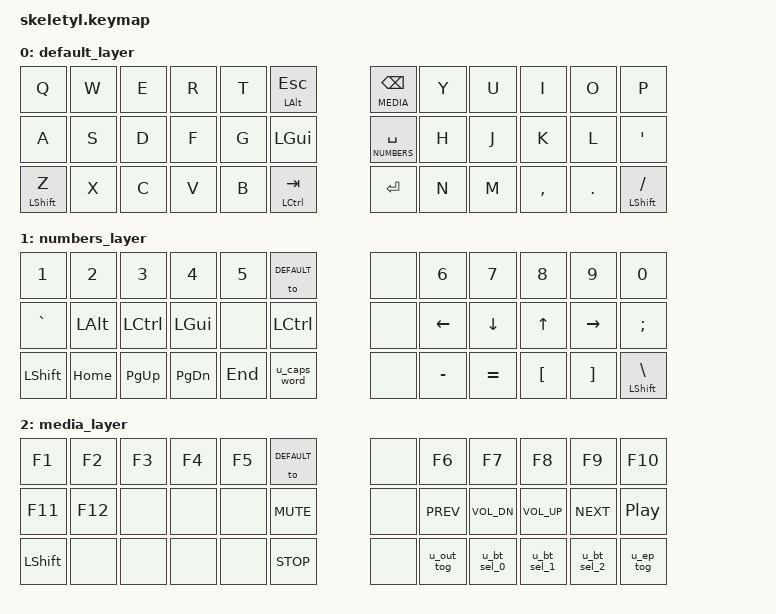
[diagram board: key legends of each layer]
#include <behaviors.dtsi>
#include <dt-bindings/zmk/bt.h>
#include <dt-bindings/zmk/keys.h>
#include <dt-bindings/zmk/outputs.h>
#include <dt-bindings/zmk/ext_power.h>

#define U_STRINGIFY(x) #x
#define U_MACRO(name,...) \
/ { \
  macros { \
    name: name { \
      label = U_STRINGIFY(ZM_ ## name); \
      compatible = "zmk,behavior-macro"; \
      #binding-cells = <0>; \
      __VA_ARGS__ \
    }; \
  }; \
};
#define MIRYOKU_SHIFT_FUNCTION(NAME, BINDING, SHIFT_BINDING) \
/ { \
  behaviors { \
    NAME: NAME { \
      compatible = "zmk,behavior-mod-morph"; \
      label = U_STRINGIFY(NAME); \
      #binding-cells = <0>; \
      bindings = <BINDING>, <SHIFT_BINDING>; \
      mods = <(MOD_LSFT|MOD_RSFT)>; \
    }; \
  }; \
};

#define MIRYOKU_SHIFT_MACRO(NAME, BINDING, SHIFT_BINDING) \
U_MACRO(u_macro_ ## NAME, wait-ms = <0>; bindings = <SHIFT_BINDING>;) \
MIRYOKU_SHIFT_FUNCTION(NAME, BINDING, &u_macro_ ## NAME)

// ======================================
// Bluetooth profile definition
// ======================================
MIRYOKU_SHIFT_MACRO(u_bt_sel_0, &bt BT_SEL 0, &bt BT_SEL 0 &bt BT_CLR)
MIRYOKU_SHIFT_MACRO(u_bt_sel_1, &bt BT_SEL 1, &bt BT_SEL 1 &bt BT_CLR)
MIRYOKU_SHIFT_MACRO(u_bt_sel_2, &bt BT_SEL 2, &bt BT_SEL 2 &bt BT_CLR)
MIRYOKU_SHIFT_MACRO(u_bt_sel_3, &bt BT_SEL 3, &bt BT_SEL 3 &bt BT_CLR)
MIRYOKU_SHIFT_MACRO(u_bt_sel_4, &bt BT_SEL 4, &bt BT_SEL 4 &bt BT_CLR)

// Toggle output
MIRYOKU_SHIFT_FUNCTION(u_out_tog, &out OUT_TOG, &out OUT_USB)
MIRYOKU_SHIFT_FUNCTION(u_ep_tog, &ext_power EP_TOG, &ext_power EP_OFF)
// ======================================
// END Bluetooth profile definition
// ======================================

// Caps word or caps lock with a shift
MIRYOKU_SHIFT_FUNCTION(u_caps_word, &caps_word, &kp CAPS)


/ {
    combos {
        compatible = "zmk,combos";
        combo_tab {
            timeout-ms = <50>;
            key-positions = <0 17>;
            bindings = <&kp LSHFT>, <&kp TAB>;
        };
    };
};

#define DEFAULT 0
#define NUMBERS 1
#define MEDIA 2

/ {
    keymap {
        compatible = "zmk,keymap";

        default_layer {
// --------------------------------------------------------------------------------------------------------------------------------------------------------------------
// |    Q    |    W    |    E    |    R    |    T    |                       |    Y    |    U    |    I    |    O    |    P    |
// |    A    |    S    |    D    |    F    |    G    |                       |    H    |    J    |    K    |    L    |    "    |
// | SFT(Z)  |    X    |    C    |    V    |    B    |                       |    N    |    M    |    ,    |    .    | SHFT(/) |
//                     | ALT(ESC)|   CMD   |CTRL(TAB)|                       |  ENTER  |L1(SPACE)| L2(BSP) |
            bindings = <
     &kp Q       &kp W    &kp E     &kp R     &kp T      &mt LALT ESC            &lt MEDIA BSPC    &kp Y     &kp U     &kp I     &kp O     &kp P
     &kp A       &kp S    &kp D     &kp F     &kp G      &kp LGUI                &lt NUMBERS SPACE &kp H     &kp J     &kp K     &kp L     &kp SQT
     &mt LSHFT Z &kp X    &kp C     &kp V     &kp B      &mt LCTRL TAB           &kp ENTER         &kp N     &kp M     &kp COMMA &kp DOT   &mt LSHFT FSLH
            >;
        };

        numbers_layer {
// --------------------------------------------------------------------------------------------------------------------------------------------------------------------
// |    1    |    2    |    3    |    4    |    5    |                       |    6    |    7    |    8    |    9    |    0    |
// |    `    |   ALT   |  CTRL   |   CMD   |         |                       |  LEFT   |  DOWN   |   UP    |  RIGHT  |    ;    |
// |  SHFT   |  HOME   |  PGUP   |  PGDWN  |   END   |                       |    -_   |    =+   |    [{   |    ]}   | SHFT(\|)|
//                     |   L0    |  CTRL   | CAPSWRD |                       |         |  (hold) |         |
            bindings = <
     &kp 1     &kp 2    &kp 3     &kp 4     &kp 5      &to DEFAULT             &none         &kp 6     &kp 7     &kp 8     &kp 9     &kp 0
     &kp GRAVE &kp LALT &kp LCTRL &kp LGUI  &none      &kp LCTRL               &none         &kp LEFT  &kp DOWN  &kp UP    &kp RIGHT &kp SEMI
     &kp LSHFT &kp HOME &kp PG_UP &kp PG_DN &kp END    &u_caps_word            &none         &kp MINUS &kp EQUAL &kp LBKT  &kp RBKT  &mt LSHFT BSLH
            >;
        };

        media_layer {
// --------------------------------------------------------------------------------------------------------------------------------------------------------------------
// |   F1    |   F2    |   F3    |   F4    |   F5    |                       |   F6    |   F7    |   F8    |   F9    |  F10    |
// |   F11   |   F12   |         |         |         |                       |  PREV   |  VOL-   |  VOL+   |  NEXT   |  PLAY   |
// |         |         |         |         |         |                       | OUT_TOGL|   BT_1  |   BT_2  |   BT_3  |   BT_4  |
//                     |   L0    |   MUTE  |  STOP   |                       |         |         |  (hold) |
            bindings = <
     &kp F1    &kp F2   &kp F3    &kp F4    &kp F5     &to DEFAULT             &none       &kp F6     &kp F7       &kp F8       &kp F9     &kp F10
     &kp F11   &kp F12  &none     &none     &none      &kp C_MUTE              &none       &kp C_PREV &kp C_VOL_DN &kp C_VOL_UP &kp C_NEXT &kp C_PP
     &kp LSHFT &none    &none     &none     &none      &kp C_STOP              &none       &u_out_tog &u_bt_sel_0 &u_bt_sel_1 &u_bt_sel_2 &u_ep_tog
            >;
        };
    };

};
